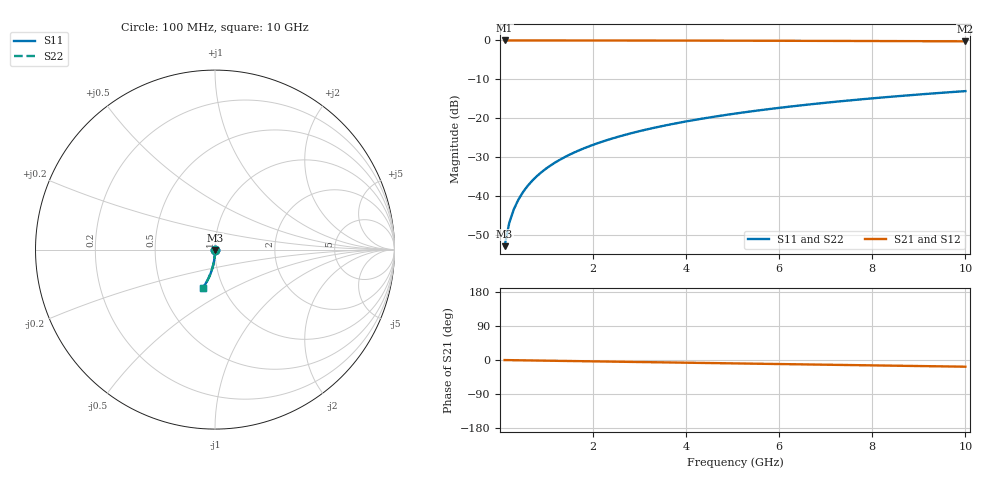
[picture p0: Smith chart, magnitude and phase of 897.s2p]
# Hz S RI R 50.00
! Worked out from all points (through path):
!   100 points, 100 MHz to 10 GHz, reference 50 ohm
!   highest |S21| = 0.00 dB at 100 MHz (marker M1); lowest = -0.2 dB at 10 GHz (marker M2)
!   group delay of S21, straight-line fit = 4.92 ps
!   lowest |S11| = -52.8 dB at 100 MHz (marker M3), VSWR 1.00, Z = 50 - j0.229 ohm
!   |S11| at or under -10 dB: start of sweep to end of sweep
!   |S22| runs from -52.8 to -13.0 dB; largest |S21 - S12| = 0
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1e8  0.000149 -0.00229  0.9998 -0.0031  0.9998 -0.0031  0.000149 -0.00229
2e8  0.000126 -0.00458  0.9998 -0.00621  0.9998 -0.00621  0.000126 -0.00458
3e8  8.85e-05 -0.00687  0.9998 -0.00931  0.9998 -0.00931  8.85e-05 -0.00687
4e8  3.68e-05 -0.00916  0.9997 -0.0124  0.9997 -0.0124  3.68e-05 -0.00916
5e8  -2.92e-05 -0.0114  0.9996 -0.0155  0.9996 -0.0155  -2.92e-05 -0.0114
6e8  -0.000109 -0.0137  0.9996 -0.0186  0.9996 -0.0186  -0.000109 -0.0137
7e8  -0.000204 -0.016  0.9995 -0.0217  0.9995 -0.0217  -0.000204 -0.016
8e8  -0.000313 -0.0183  0.9993 -0.0248  0.9993 -0.0248  -0.000313 -0.0183
9e8  -0.000436 -0.0206  0.9992 -0.0279  0.9992 -0.0279  -0.000436 -0.0206
1.1e9  -0.000725 -0.0252  0.9989 -0.0341  0.9989 -0.0341  -0.000725 -0.0252
1.4e9  -0.00126 -0.032  0.9983 -0.0434  0.9983 -0.0434  -0.00126 -0.032
1.8e9  -0.00218 -0.0411  0.9974 -0.0558  0.9974 -0.0558  -0.00218 -0.0411
2.1e9  -0.00302 -0.048  0.9965 -0.0651  0.9965 -0.0651  -0.00302 -0.048
2.5e9  -0.00434 -0.057  0.9951 -0.0774  0.9951 -0.0774  -0.00434 -0.057
2.9e9  -0.00587 -0.0661  0.9935 -0.0897  0.9935 -0.0897  -0.00587 -0.0661
3.4e9  -0.00811 -0.0773  0.9912 -0.1051  0.9912 -0.1051  -0.00811 -0.0773
4.2e9  -0.0124 -0.0951  0.9867 -0.1294  0.9867 -0.1294  -0.0124 -0.0951
5.1e9  -0.0183 -0.1148  0.9805 -0.1565  0.9805 -0.1565  -0.0183 -0.1148
5.9e9  -0.0244 -0.132  0.9741 -0.1803  0.9741 -0.1803  -0.0244 -0.132
6.7e9  -0.0314 -0.1489  0.9668 -0.2037  0.9668 -0.2037  -0.0314 -0.1489
8.4e9  -0.0487 -0.1832  0.9485 -0.2522  0.9485 -0.2522  -0.0487 -0.1832
1e10  -0.068 -0.2133  0.9282 -0.2957  0.9282 -0.2957  -0.068 -0.2133
